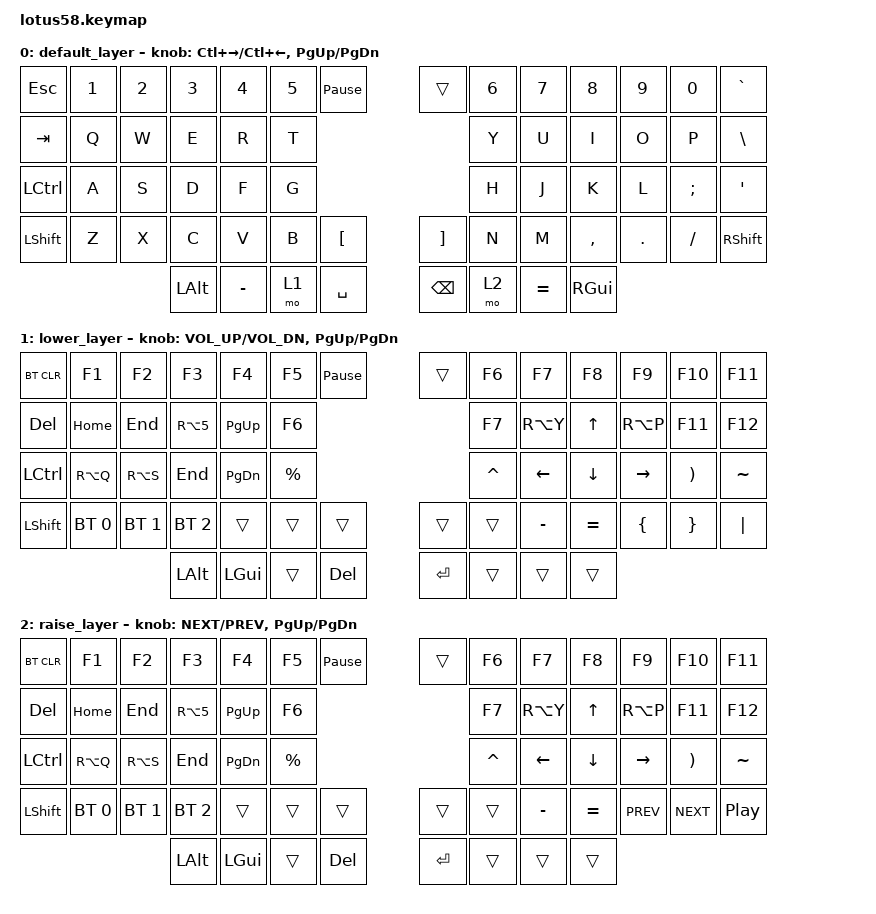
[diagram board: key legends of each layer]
/*
 * Copyright (c) 2020 The ZMK Contributors
 *
 * SPDX-License-Identifier: MIT
 */

#include <behaviors.dtsi>
#include <dt-bindings/zmk/keys.h>
#include <dt-bindings/zmk/bt.h>
#include <dt-bindings/zmk/ext_power.h>

/ {
    keymap {
        compatible = "zmk,keymap";

        default_layer {
// ------------------------------------------------------------------------------------------------------------
// |  ESC  |  1  |  2  |  3   |  4   |  5   |                   |  6   |  7    |  8    |  9   |   0   |  TILDE   |
// |  TAB  |  Q  |  W  |  E   |  R   |  T   |                   |  Y   |  U    |  I    |  O   |   P   |   \   |
// |  CTRL |  A  |  S  |  D   |  F   |  G   |                   |  H   |  J    |  K    |  L   |   ;   |   '   |
// | SHIFT |  Z  |  X  |  C   |  V   |  B   |   "["  |  |  "]"  |  N   |  M    |  ,    |  .   |   /   | SHIFT |
//                     | ALT  | MINUS  | LOWER|  SPACE |  | BSPC | RAISE| EQUAL | GUI   |
            bindings = <
&kp ESC   &kp N1 &kp N2 &kp N3   &kp N4   &kp N5 &kp PAUSE_BREAK &trans &kp N6 &kp N7   &kp N8    &kp N9  &kp N0   &kp GRAVE
&kp TAB   &kp Q  &kp W  &kp E    &kp R    &kp T                      &kp Y  &kp U    &kp I     &kp O   &kp P    &kp BACKSLASH
&kp LCTRL &kp A  &kp S  &kp D    &kp F    &kp G                      &kp H  &kp J    &kp K     &kp L   &kp SEMI &kp SQT
&kp LSHIFT &kp Z  &kp X  &kp C    &kp V    &kp B  &kp LBKT   &kp RBKT &kp N  &kp M    &kp COMMA &kp DOT &kp FSLH &kp RSHFT
                        &kp LALT &kp MINUS &mo 1  &kp SPACE  &kp BSPC  &mo 2  &kp EQUAL &kp RGUI
            >;

            sensor-bindings = <&inc_dec_kp LC(RIGHT) LC(LEFT) &inc_dec_kp PG_UP PG_DN>;
        };

        lower_layer {
// ------------------------------------------------------------------------------------------------------------
// | BT_CLR | F1 | F2 |    F3 |  F4 |  F5 | &trans     &trans     |  F6  |   F7  |    F8 |   F9 |   F10 | F11   |
// |  F1   |  F2 |  F3 |   €  |PG_UP  |  F6  |                      |  F7  |  Ü    |  UP   |  Ö   |  F11  |  F12  |  
// |   `   |  Ä  |  ss| END | PG_DN |  %   |                   |  ^   |  LEFT |  DOWN | RIGHT|   )   |   ~   |
// |       |     |     |      |      |      |        |  |       |      |  _    |  +    |  {   |   }   |  "|"  |
//                     |      |      |      |        |  |       |      |       |       |
            bindings = <
&bt BT_CLR &kp F1    &kp F2    &kp F3      &kp F4     &kp F5   &kp PAUSE_BREAK &trans      &kp F6    &kp F7    &kp F8   &kp F9     &kp F10    &kp F11
&kp DEL    &kp HOME    &kp END    &kp RA(N5)  &kp PG_UP  &kp F6                      &kp F7    &kp RA(Y) &kp UP   &kp RA(P)  &kp F11    &kp F12
&kp LCTRL  &kp RA(Q) &kp RA(S)  &kp END    &kp PG_DN  &kp PRCNT                   &kp CARET &kp LEFT  &kp DOWN &kp RIGHT  &kp RPAR   &kp TILDE
&kp LSHIFT &bt BT_SEL 0 &bt BT_SEL 1 &bt BT_SEL 2 &trans &trans &trans &trans &trans &kp MINUS  &kp EQUAL  &kp LBRC  &kp RBRC  &kp PIPE
                                 &kp LALT &kp LGUI &trans     &kp DEL  &kp RET   &trans &trans &trans
            >;

      sensor-bindings = <&inc_dec_kp C_VOL_UP C_VOL_DN &inc_dec_kp PG_UP PG_DN>;
        };

        raise_layer {
// ------------------------------------------------------------------------------------------------------------
// | BT_CLR | F1 | F2 |    F3 |  F4 |  F5 | &trans     &trans     |  F6  |   F7  |    F8 |   F9 |   F10 | F11   |
// |  F1   |  F2 |  F3 |   €  |PG_UP  |  F6  |                      |  F7  |  Ü    |  UP   |  Ö   |  F11  |  F12  |  
// |   `   |  Ä  |  ss| END | PG_DN |  %   |                   |  ^   |  LEFT |  DOWN | RIGHT|   )   |   ~   |
// |       |     |     |      |      |      |        |  |       |      |  _    |  +    |  {   |   }   |  "|"  |
//                     |      |      |      |        |  |       |      |       |       |
            bindings = <
&bt BT_CLR &kp F1    &kp F2    &kp F3      &kp F4     &kp F5   &kp PAUSE_BREAK &trans    &kp F6    &kp F7    &kp F8   &kp F9     &kp F10    &kp F11
&kp DEL    &kp HOME    &kp END    &kp RA(N5)  &kp PG_UP  &kp F6                       &kp F7    &kp RA(Y) &kp UP   &kp RA(P)   &kp F11   &kp F12
&kp LCTRL  &kp RA(Q) &kp RA(S) &kp END     &kp PG_DN  &kp PRCNT                    &kp CARET &kp LEFT  &kp DOWN &kp RIGHT  &kp RPAR  &kp TILDE
&kp LSHIFT  &bt BT_SEL 0 &bt BT_SEL 1 &bt BT_SEL 2 &trans &trans    &trans   &trans    &trans    &kp MINUS &kp EQUAL     &kp C_PREV  &kp C_NEXT  &kp C_PLAY_PAUSE
                                               &kp LALT &kp LGUI &trans    &kp DEL   &kp RET    &trans &trans &trans 
            >;

      sensor-bindings = <&inc_dec_kp C_NEXT C_PREV &inc_dec_kp PG_UP PG_DN>; 
        };
    };
};
